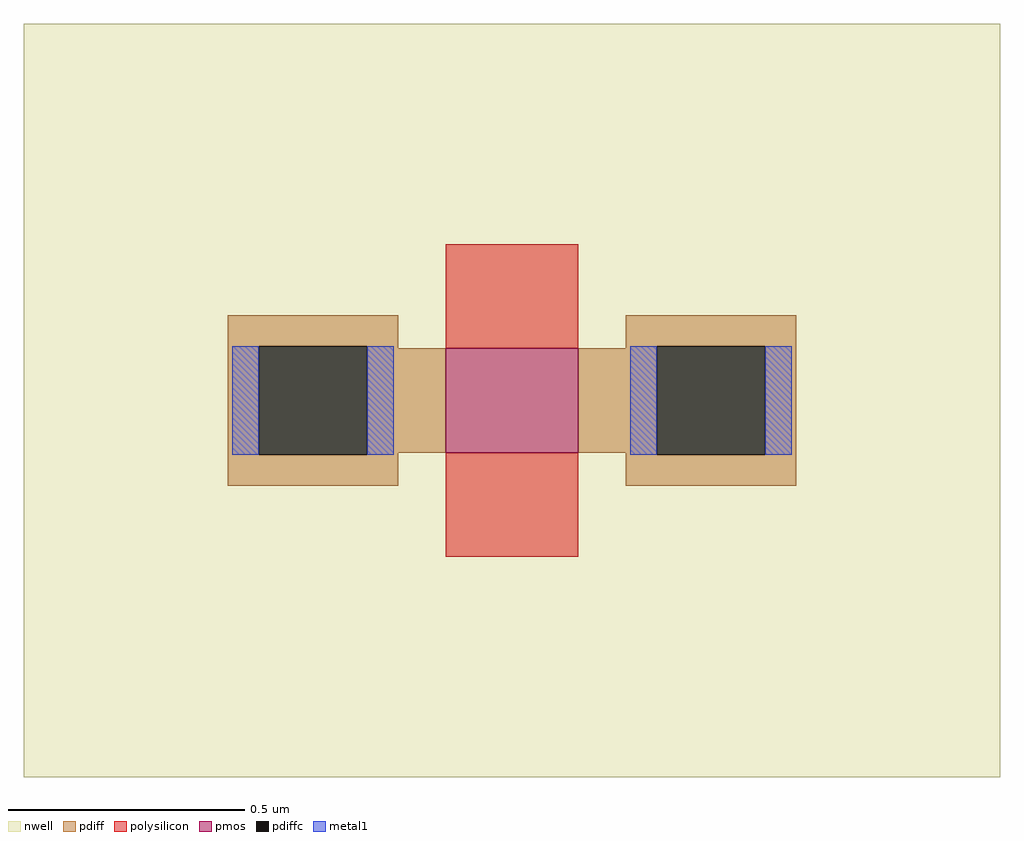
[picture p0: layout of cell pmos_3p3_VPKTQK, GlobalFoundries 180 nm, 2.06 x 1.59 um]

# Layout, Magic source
magic
tech gf180mcuC
magscale 1 10
<< nwell >>
rect -206 -159 206 159
<< pmos >>
rect -28 -22 28 22
<< pdiff >>
rect -120 23 -48 36
rect -120 -23 -107 23
rect -61 22 -48 23
rect 48 23 120 36
rect 48 22 61 23
rect -61 -22 -28 22
rect 28 -22 61 22
rect -61 -23 -48 -22
rect -120 -36 -48 -23
rect 48 -23 61 -22
rect 107 -23 120 23
rect 48 -36 120 -23
<< pdiffc >>
rect -107 -23 -61 23
rect 61 -23 107 23
<< polysilicon >>
rect -28 22 28 66
rect -28 -66 28 -22
<< metal1 >>
rect -118 -23 -107 23
rect -61 -23 -50 23
rect 50 -23 61 23
rect 107 -23 118 23
<< properties >>
string gencell pmos_3p3
string library gf180mcu
string parameters w 0.22 l 0.28 m 1 nf 1 diffcov 100 polycov 100 guard 0 glc 0 grc 0 gtc 0 gbc 0 tbcov 100 rlcov 100 topc 0 botc 0 poverlap 0 doverlap 1 lmin 0.28 wmin 0.22 full_metal 0 compatible {pmos_3p3 pmos_6p0}
<< end >>
